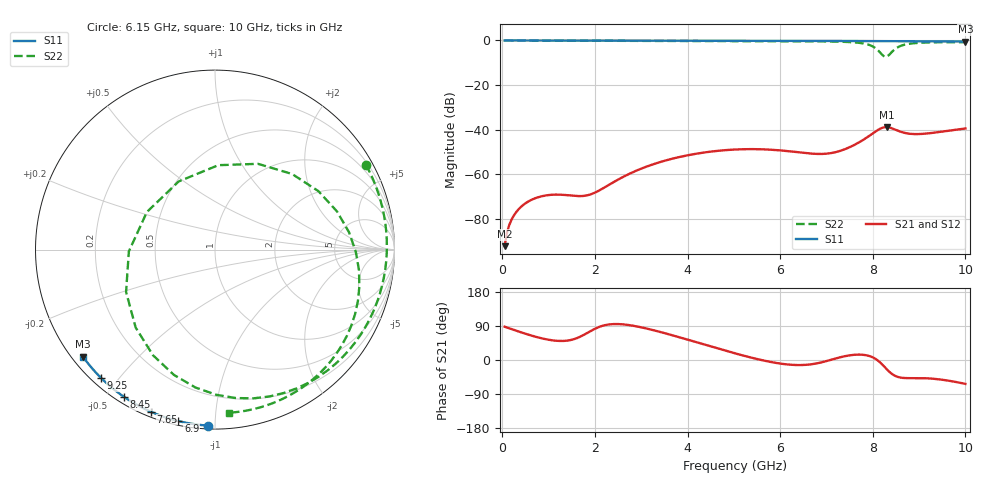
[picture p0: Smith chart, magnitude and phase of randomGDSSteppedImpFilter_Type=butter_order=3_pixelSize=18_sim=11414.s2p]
! freq	dB(S11)	phase(S11)	dB(S12)	phase(S12)
!  dB(S21)	phase(S21)	dB(S22)	phase(S22)
!S-par simulation data
#  GHz  S  DB  R 50
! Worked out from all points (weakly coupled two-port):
!   200 points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, 50 MHz to 10 GHz, reference 50 ohm
!   highest |S21| = -38.93 dB at 8.3 GHz (marker M1); lowest = -92.4 dB at 50 MHz (marker M2)
!   lowest |S11| = -0.5 dB at 10 GHz (marker M3), VSWR 36.80, Z = 1.53 - j17.7 ohm
!   |S11| at or under -10 dB: nowhere
!   |S22| runs from -7.3 to 0.0 dB; largest |S21 - S12| = 0
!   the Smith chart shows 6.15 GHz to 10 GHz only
!   S11 on the Smith chart (normalised r, x): 6.15 GHz: 0.02, -0.96; 6.9 GHz: 0.02, -0.81; 7.65 GHz: 0.02, -0.68; 8.45 GHz: 0.02, -0.56; 9.25 GHz: 0.03, -0.45; 10 GHz: 0.03, -0.35
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0.05  -0.00 -0.8  -92.39 87.9  -92.39 87.9  -0.00 -3.6
0.2  -0.00 -3.3  -80.46 81.5  -80.46 81.5  -0.02 -14.1
0.45  -0.01 -7.3  -73.91 71.2  -73.91 71.2  -0.04 -31.4
0.95  -0.02 -15.4  -69.57 54.6  -69.57 54.6  -0.08 -64.7
1.75  -0.04 -28.1  -69.83 65.7  -69.83 65.7  -0.12 -112.8
2.6  -0.05 -41.3  -61.38 94.1  -61.38 94.1  -0.16 -157.7
3.4  -0.07 -53.4  -54.67 74.4  -54.67 74.4  -0.19 163.5
4.3  -0.09 -66.6  -50.50 43.0  -50.50 43.0  -0.23 120.6
5.05  -0.12 -77.2  -48.96 16.7  -48.96 16.7  -0.26 84.2
6.15  -0.16 -92.2  -49.67 -11.7  -49.67 -11.7  -0.31 29.4
6.7  -0.19 -99.4  -50.86 -10.8  -50.86 -10.8  -0.37 1.0
6.9  -0.20 -102.0  -50.97 -6.0  -50.97 -6.0  -0.41 -9.7
7.3  -0.23 -107.2  -49.57 7.3  -49.57 7.3  -0.56 -33.2
7.65  -0.25 -111.7  -46.39 14.1  -46.39 14.1  -0.95 -59.6
8  -0.28 -116.1  -41.75 7.0  -41.75 7.0  -2.68 -108.2
8.15  -0.29 -118.0  -39.75 -5.5  -39.75 -5.5  -5.21 -154.5
8.3  -0.30 -119.8  -38.93 -24.2  -38.93 -24.2  -7.33 118.0
8.35  -0.31 -120.5  -39.06 -30.3  -39.06 -30.3  -6.55 87.8
8.45  -0.32 -121.7  -39.75 -39.7  -39.75 -39.7  -4.41 44.4
8.7  -0.34 -124.8  -41.57 -47.7  -41.57 -47.7  -1.83 -8.1
9.25  -0.39 -131.7  -41.61 -48.9  -41.61 -48.9  -0.86 -52.7
10  -0.47 -141.0  -39.53 -63.0  -39.53 -63.0  -0.80 -85.2
